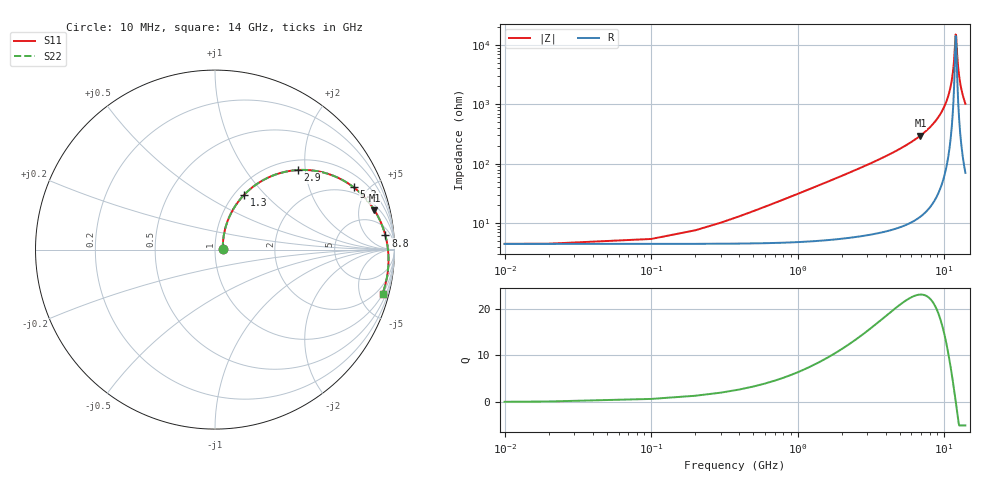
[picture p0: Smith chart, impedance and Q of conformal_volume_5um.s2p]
! Created with skrf 1.12.0 (http://scikit-rf.org).
# GHz S DB R 50.0
!freq dBS11 angS11 dBS21 angS21 dBS12 angS12 dBS22 angS22
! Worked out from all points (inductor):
!   142 points, 10 MHz to 14 GHz, reference 50 ohm
!   read as one part in series: L = 4.86 nH near 500 MHz
!   highest Q = 23 at 6.9 GHz (marker M1), where L = 6.85 nH
!   self-resonance near 12 GHz
!   S11 on the Smith chart (normalised r, x): 10 MHz: 1.09, +0.01; 1.3 GHz: 1.11, +0.77; 2.9 GHz: 1.21, +1.83; 5.2 GHz: 1.64, +4.03; 8.8 GHz: 11, +18; 14 GHz: 1.05, -7.60
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0.01  -27.32 3.5  -0.38 -0.2  -0.38 -0.2  -27.32 3.5
0.4  -18.61 62.7  -0.47 -7.1  -0.47 -7.1  -18.61 62.7
0.6  -15.40 66.1  -0.55 -10.5  -0.55 -10.5  -15.40 66.1
1.3  -9.21 62.0  -1.06 -21.8  -1.06 -21.8  -9.21 62.0
2.4  -4.94 49.2  -2.32 -37.0  -2.32 -37.0  -4.95 49.2
2.9  -3.86 43.8  -3.02 -42.9  -3.02 -42.9  -3.86 43.8
4.7  -1.76 27.8  -5.91 -59.7  -5.91 -59.7  -1.76 27.8
5.2  -1.44 24.2  -6.80 -63.3  -6.80 -63.3  -1.44 24.2
6.9  -0.77 13.9  -10.13 -73.7  -10.13 -73.7  -0.77 13.9
7.1  -0.72 12.8  -10.56 -74.8  -10.56 -74.8  -0.72 12.8
8.8  -0.42 4.7  -14.89 -82.5  -14.89 -82.5  -0.42 4.7
9.4  -0.36 2.2  -16.87 -84.6  -16.87 -84.6  -0.36 2.2
10.3  -0.30 -1.5  -20.76 -87.1  -20.76 -87.1  -0.30 -1.5
10.9  -0.27 -3.8  -24.56 -87.4  -24.56 -87.4  -0.28 -3.8
11.4  -0.26 -5.6  -29.58 -84.7  -29.58 -84.7  -0.26 -5.6
11.7  -0.26 -6.7  -34.73 -77.0  -34.73 -77.0  -0.26 -6.7
12  -0.26 -7.8  -43.78 -27.4  -43.78 -27.4  -0.26 -7.8
12.1  -0.26 -8.2  -43.50 16.6  -43.50 16.6  -0.26 -8.2
12.4  -0.26 -9.2  -34.63 61.9  -34.63 61.9  -0.26 -9.2
12.7  -0.26 -10.3  -29.72 69.2  -29.72 69.2  -0.27 -10.3
13.2  -0.28 -12.0  -25.00 71.9  -25.00 71.9  -0.28 -12.0
14  -0.31 -14.7  -20.61 71.5  -20.61 71.5  -0.31 -14.7
